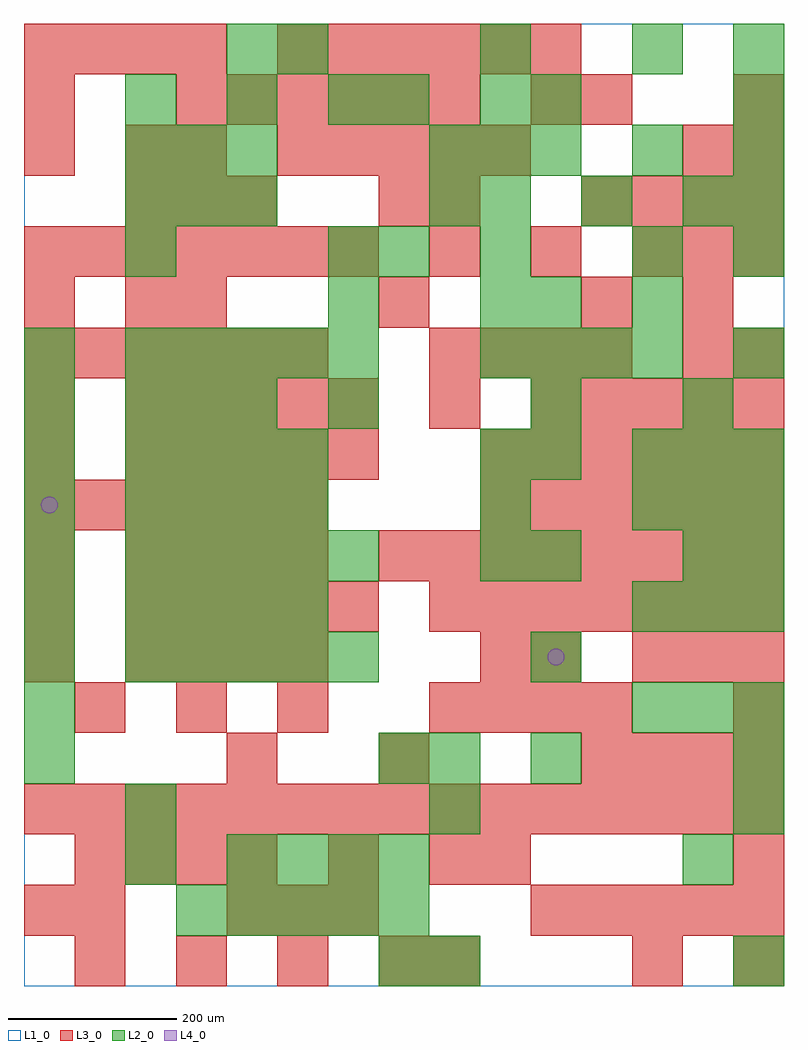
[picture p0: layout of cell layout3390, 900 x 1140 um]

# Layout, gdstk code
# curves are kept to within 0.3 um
import gdstk
lib = gdstk.Library(unit=1e-6, precision=1e-09)
def R(c, l, rs):  # rectangles x0, y0, x1, y1
    for r in rs: c.add(gdstk.rectangle(r[:2], r[2:], *l))
def A(c, l, x, y, w, h, nx, ny, dx, dy):  # array of equal rectangles
    R(c, l, [(x+i*dx, y+j*dy, x+i*dx+w, y+j*dy+h) for i in range(nx) for j in range(ny)])
def P(c, l, *ps):  # polygons
    for p in ps: c.add(gdstk.Polygon(p, *l))
L1_0 = (1, 0)
L2_0 = (2, 0)
L3_0 = (3, 0)
L4_0 = (4, 0)

layout3390 = lib.new_cell('layout3390')
R(layout3390, L1_0, [(0,0,900,1140)])
A(layout3390, L2_0, 840, 0, 60, 60, 1, 4, 0, 240)
A(layout3390, L2_0, 180, 60, 60, 60, 5, 1, 60, 0)
A(layout3390, L2_0, 240, 120, 60, 60, 4, 1, 60, 0)
A(layout3390, L2_0, 120, 180, 60, 60, 3, 1, 360, 0)
A(layout3390, L2_0, 0, 240, 60, 60, 1, 9, 0, 60)
A(layout3390, L2_0, 600, 240, 60, 60, 1, 4, 0, 120)
A(layout3390, L2_0, 720, 300, 60, 60, 3, 3, 60, 120)
A(layout3390, L2_0, 120, 360, 60, 60, 5, 2, 60, 120)
A(layout3390, L2_0, 120, 420, 60, 60, 4, 2, 60, 120)
A(layout3390, L2_0, 540, 480, 60, 60, 1, 3, 0, 60)
A(layout3390, L2_0, 120, 600, 60, 60, 4, 1, 60, 0)
A(layout3390, L2_0, 720, 600, 60, 60, 3, 1, 60, 0)
A(layout3390, L2_0, 120, 660, 60, 60, 3, 2, 60, 240)
A(layout3390, L2_0, 120, 720, 60, 60, 5, 1, 60, 0)
A(layout3390, L2_0, 540, 720, 60, 60, 4, 1, 60, 0)
A(layout3390, L2_0, 720, 840, 60, 60, 1, 3, 0, 120)
A(layout3390, L2_0, 840, 840, 60, 60, 1, 5, 0, 60)
A(layout3390, L2_0, 540, 900, 60, 60, 3, 1, 120, 0)
A(layout3390, L2_0, 120, 960, 60, 60, 3, 1, 60, 0)
A(layout3390, L2_0, 480, 960, 60, 60, 3, 1, 60, 0)
A(layout3390, L2_0, 120, 1020, 60, 60, 3, 1, 120, 0)
R(layout3390, L2_0, [(420,0,480,60), (480,0,540,60), (120,120,180,180), (780,120,840,180), (420,240,480,300), (480,240,540,300), (780,480,840,540), (360,660,420,720), (600,660,660,720), (780,660,840,720), (360,780,420,840), (540,780,600,840), (600,780,660,840), (720,780,780,840), (120,840,180,900), (360,840,420,900), (420,840,480,900), (540,840,600,900), (480,900,540,960), (420,1020,480,1080), (540,1020,600,1080), (600,1020,660,1080), (240,1080,300,1140), (300,1080,360,1140), (540,1080,600,1140)])
A(layout3390, L3_0, 60, 0, 60, 60, 4, 1, 120, 0)
A(layout3390, L3_0, 240, 60, 60, 60, 3, 1, 60, 0)
A(layout3390, L3_0, 600, 60, 60, 60, 5, 2, 60, 600)
A(layout3390, L3_0, 60, 120, 60, 60, 4, 1, 60, 0)
A(layout3390, L3_0, 0, 180, 60, 60, 15, 1, 60, 0)
A(layout3390, L3_0, 660, 240, 60, 60, 4, 2, 60, 660)
A(layout3390, L3_0, 60, 300, 60, 60, 3, 1, 120, 0)
A(layout3390, L3_0, 480, 300, 60, 60, 4, 2, 60, 420)
A(layout3390, L3_0, 0, 360, 60, 60, 1, 3, 0, 60)
A(layout3390, L3_0, 120, 360, 60, 60, 4, 2, 60, 120)
A(layout3390, L3_0, 720, 360, 60, 60, 3, 1, 60, 0)
A(layout3390, L3_0, 120, 420, 60, 60, 5, 2, 60, 180)
A(layout3390, L3_0, 480, 420, 60, 60, 7, 1, 60, 0)
A(layout3390, L3_0, 420, 480, 60, 60, 8, 1, 60, 0)
A(layout3390, L3_0, 0, 540, 60, 60, 6, 2, 60, 180)
A(layout3390, L3_0, 540, 540, 60, 60, 6, 2, 60, 60)
A(layout3390, L3_0, 120, 660, 60, 60, 5, 1, 60, 0)
A(layout3390, L3_0, 780, 720, 60, 60, 1, 3, 0, 60)
A(layout3390, L3_0, 840, 720, 60, 60, 1, 3, 0, 120)
A(layout3390, L3_0, 180, 780, 60, 60, 3, 1, 240, 0)
A(layout3390, L3_0, 0, 840, 60, 60, 7, 1, 60, 0)
A(layout3390, L3_0, 480, 840, 60, 60, 3, 1, 120, 0)
A(layout3390, L3_0, 120, 900, 60, 60, 3, 1, 60, 0)
A(layout3390, L3_0, 300, 960, 60, 60, 5, 1, 60, 0)
A(layout3390, L3_0, 180, 1020, 60, 60, 6, 1, 60, 0)
A(layout3390, L3_0, 0, 1080, 60, 60, 4, 1, 60, 0)
A(layout3390, L3_0, 300, 1080, 60, 60, 6, 1, 60, 0)
R(layout3390, L3_0, [(480,0,540,60), (720,0,780,60), (840,0,900,60), (0,60,60,120), (60,60,120,120), (360,120,420,180), (480,120,540,180), (540,120,600,180), (840,120,900,180), (240,240,300,300), (420,240,480,300), (840,300,900,360), (540,360,600,420), (600,360,660,420), (0,600,60,660), (0,660,60,720), (480,660,540,720), (0,780,60,840), (120,780,180,840), (420,900,480,960), (480,900,540,960), (0,960,60,1020), (120,960,180,1020), (180,960,240,1020), (780,960,840,1020), (0,1020,60,1080), (600,1020,660,1080), (660,1020,720,1080), (840,1020,900,1080)])
P(layout3390, L4_0, [(40,570),(39.239,573.827),(37.071,577.071),(33.827,579.239),(30,580),(26.173,579.239),(22.929,577.071),(20.761,573.827),(20,570),(20.761,566.173),(22.929,562.929),(26.173,560.761),(30,560),(33.827,560.761),(37.071,562.929),(39.239,566.173)],
  [(640,390),(639.239,393.827),(637.071,397.071),(633.827,399.239),(630,400),(626.173,399.239),(622.929,397.071),(620.761,393.827),(620,390),(620.761,386.173),(622.929,382.929),(626.173,380.761),(630,380),(633.827,380.761),(637.071,382.929),(639.239,386.173)])

lib.write_gds('layout3390.gds')
